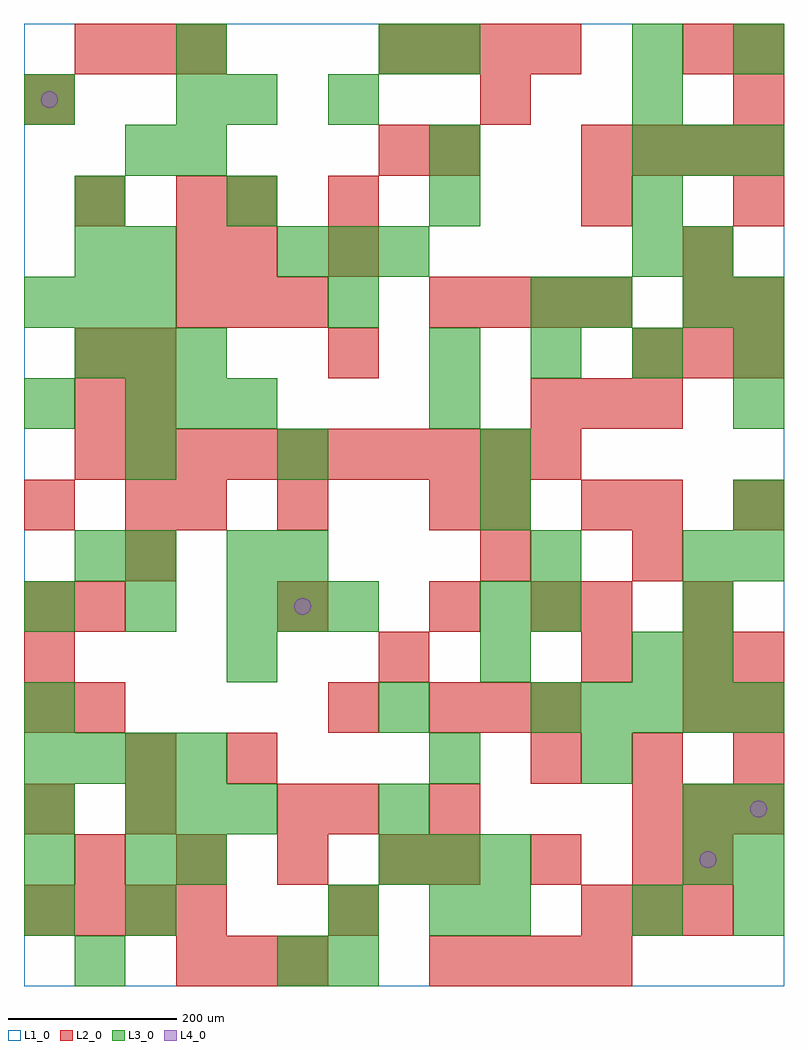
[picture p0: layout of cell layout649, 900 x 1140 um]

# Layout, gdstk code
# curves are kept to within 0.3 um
import gdstk
lib = gdstk.Library(unit=1e-6, precision=1e-09)
def R(c, l, rs):  # rectangles x0, y0, x1, y1
    for r in rs: c.add(gdstk.rectangle(r[:2], r[2:], *l))
def A(c, l, x, y, w, h, nx, ny, dx, dy):  # array of equal rectangles
    R(c, l, [(x+i*dx, y+j*dy, x+i*dx+w, y+j*dy+h) for i in range(nx) for j in range(ny)])
def P(c, l, *ps):  # polygons
    for p in ps: c.add(gdstk.Polygon(p, *l))
L1_0 = (1, 0)
L2_0 = (2, 0)
L3_0 = (3, 0)
L4_0 = (4, 0)

layout649 = lib.new_cell('layout649')
R(layout649, L1_0, [(0,0,900,1140)])
A(layout649, L2_0, 180, 0, 60, 60, 3, 2, 60, 780)
A(layout649, L2_0, 480, 0, 60, 60, 4, 2, 60, 780)
A(layout649, L2_0, 0, 60, 60, 60, 4, 1, 60, 0)
A(layout649, L2_0, 360, 60, 60, 60, 1, 3, 0, 120)
A(layout649, L2_0, 660, 60, 60, 60, 3, 1, 60, 0)
A(layout649, L2_0, 60, 120, 60, 60, 4, 1, 120, 0)
A(layout649, L2_0, 480, 120, 60, 60, 3, 1, 120, 0)
A(layout649, L2_0, 720, 180, 60, 60, 3, 2, 60, 540)
A(layout649, L2_0, 600, 240, 60, 60, 3, 1, 120, 0)
A(layout649, L2_0, 0, 300, 60, 60, 1, 3, 0, 60)
A(layout649, L2_0, 480, 300, 60, 60, 3, 1, 60, 0)
A(layout649, L2_0, 780, 300, 60, 60, 1, 3, 0, 60)
A(layout649, L2_0, 60, 600, 60, 60, 10, 1, 60, 0)
A(layout649, L2_0, 600, 660, 60, 60, 3, 1, 60, 0)
A(layout649, L2_0, 840, 780, 60, 60, 1, 3, 0, 120)
A(layout649, L2_0, 660, 960, 60, 60, 4, 1, 60, 0)
A(layout649, L2_0, 60, 1080, 60, 60, 3, 1, 60, 0)
A(layout649, L2_0, 420, 1080, 60, 60, 4, 1, 60, 0)
R(layout649, L2_0, [(780,120,840,180), (0,180,60,240), (120,180,180,240), (300,180,360,240), (480,180,540,240), (120,240,180,300), (240,240,300,300), (60,300,120,360), (840,300,900,360), (420,360,480,420), (660,360,720,420), (840,360,900,420), (60,420,120,480), (300,420,360,480), (480,420,540,480), (600,420,660,480), (660,420,720,480), (120,480,180,540), (540,480,600,540), (720,480,780,540), (0,540,60,600), (120,540,180,600), (180,540,240,600), (300,540,360,600), (480,540,540,600), (540,540,600,600), (660,540,720,600), (720,540,780,600), (840,540,900,600), (60,660,120,720), (120,660,180,720), (60,720,120,780), (120,720,180,780), (360,720,420,780), (780,780,840,840), (180,840,240,900), (240,840,300,900), (360,840,420,900), (780,840,840,900), (60,900,120,960), (180,900,240,960), (240,900,300,960), (360,900,420,960), (660,900,720,960), (420,960,480,1020), (480,960,540,1020), (0,1020,60,1080), (540,1020,600,1080), (780,1080,840,1140), (840,1080,900,1140)])
A(layout649, L3_0, 0, 60, 60, 60, 1, 3, 0, 60)
A(layout649, L3_0, 360, 60, 60, 60, 1, 3, 0, 360)
A(layout649, L3_0, 840, 60, 60, 60, 1, 3, 0, 60)
A(layout649, L3_0, 420, 120, 60, 60, 3, 1, 60, 0)
A(layout649, L3_0, 120, 180, 60, 60, 3, 2, 60, 480)
A(layout649, L3_0, 0, 240, 60, 60, 4, 1, 60, 0)
A(layout649, L3_0, 0, 300, 60, 60, 1, 3, 0, 360)
A(layout649, L3_0, 600, 300, 60, 60, 5, 1, 60, 0)
A(layout649, L3_0, 780, 360, 60, 60, 1, 3, 0, 60)
A(layout649, L3_0, 0, 420, 60, 60, 3, 1, 120, 0)
A(layout649, L3_0, 840, 540, 60, 60, 1, 3, 0, 120)
A(layout649, L3_0, 60, 720, 60, 60, 3, 1, 60, 0)
A(layout649, L3_0, 480, 720, 60, 60, 4, 1, 120, 0)
A(layout649, L3_0, 0, 780, 60, 60, 3, 1, 60, 0)
A(layout649, L3_0, 300, 840, 60, 60, 3, 1, 60, 0)
A(layout649, L3_0, 240, 900, 60, 60, 3, 1, 240, 0)
A(layout649, L3_0, 180, 960, 60, 60, 1, 3, 0, 60)
A(layout649, L3_0, 720, 960, 60, 60, 3, 1, 60, 0)
R(layout649, L3_0, [(60,0,120,60), (300,0,360,60), (360,0,420,60), (120,60,180,120), (480,60,540,120), (540,60,600,120), (720,60,780,120), (120,120,180,180), (180,120,240,180), (780,120,840,180), (420,180,480,240), (780,180,840,240), (480,240,540,300), (660,240,720,300), (420,300,480,360), (240,360,300,420), (540,360,600,420), (720,360,780,420), (300,420,360,480), (540,420,600,480), (600,420,660,480), (60,480,120,540), (120,480,180,540), (240,480,300,540), (300,480,360,540), (600,480,660,540), (840,480,900,540), (540,540,600,600), (120,600,180,660), (300,600,360,660), (540,600,600,660), (480,660,540,720), (600,780,660,840), (660,780,720,840), (780,780,840,840), (60,840,120,900), (120,840,180,900), (720,840,780,900), (780,840,840,900), (60,900,120,960), (120,960,180,1020), (480,960,540,1020), (240,1020,300,1080), (360,1020,420,1080), (720,1020,780,1080), (420,1080,480,1140), (480,1080,540,1140), (720,1080,780,1140), (840,1080,900,1140)])
P(layout649, L4_0, [(40,1050),(39.239,1053.827),(37.071,1057.071),(33.827,1059.239),(30,1060),(26.173,1059.239),(22.929,1057.071),(20.761,1053.827),(20,1050),(20.761,1046.173),(22.929,1042.929),(26.173,1040.761),(30,1040),(33.827,1040.761),(37.071,1042.929),(39.239,1046.173)],
  [(340,450),(339.239,453.827),(337.071,457.071),(333.827,459.239),(330,460),(326.173,459.239),(322.929,457.071),(320.761,453.827),(320,450),(320.761,446.173),(322.929,442.929),(326.173,440.761),(330,440),(333.827,440.761),(337.071,442.929),(339.239,446.173)],
  [(820,150),(819.239,153.827),(817.071,157.071),(813.827,159.239),(810,160),(806.173,159.239),(802.929,157.071),(800.761,153.827),(800,150),(800.761,146.173),(802.929,142.929),(806.173,140.761),(810,140),(813.827,140.761),(817.071,142.929),(819.239,146.173)],
  [(880,210),(879.239,213.827),(877.071,217.071),(873.827,219.239),(870,220),(866.173,219.239),(862.929,217.071),(860.761,213.827),(860,210),(860.761,206.173),(862.929,202.929),(866.173,200.761),(870,200),(873.827,200.761),(877.071,202.929),(879.239,206.173)])

lib.write_gds('layout649.gds')
